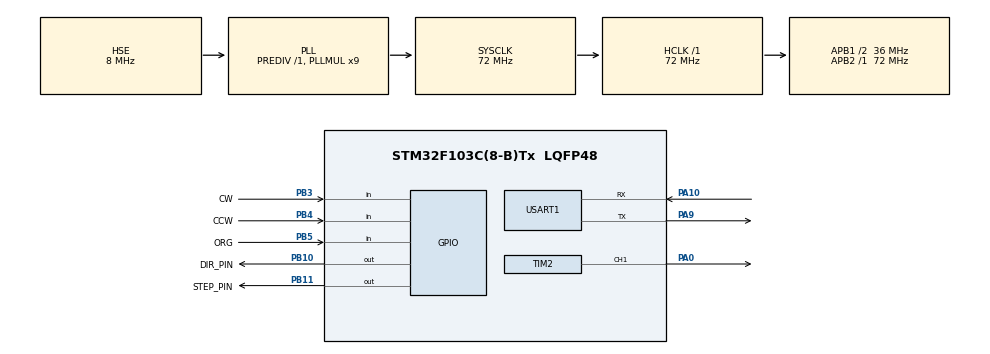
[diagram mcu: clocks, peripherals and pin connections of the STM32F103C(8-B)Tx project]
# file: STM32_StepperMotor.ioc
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Mcu.Family=STM32F1
Mcu.Name=STM32F103C(8-B)Tx
Mcu.Package=LQFP48
NVIC.PriorityGroup=NVIC_PRIORITYGROUP_4
NVIC.USART1_IRQn=true\:0\:0\:false\:false\:true\:true\:true\:true
PA0-WKUP.Signal=S_TIM2_CH1_ETR
PA10.Mode=Asynchronous
PA10.Signal=USART1_RX
PA13.Mode=Serial_Wire
PA13.Signal=SYS_JTMS-SWDIO
PA14.Mode=Serial_Wire
PA14.Signal=SYS_JTCK-SWCLK
PA9.Mode=Asynchronous
PA9.Signal=USART1_TX
PB10.GPIO_Label=DIR_PIN
PB10.GPIO_Speed=GPIO_SPEED_FREQ_HIGH
PB10.Signal=GPIO_Output
PB11.GPIO_Label=STEP_PIN
PB11.GPIO_Speed=GPIO_SPEED_FREQ_HIGH
PB11.Signal=GPIO_Output
PB3.GPIO_Label=CW
PB3.GPIO_PuPd=GPIO_PULLDOWN
PB3.Signal=GPIO_Input
PB4.GPIO_Label=CCW
PB4.GPIO_PuPd=GPIO_PULLDOWN
PB4.Signal=GPIO_Input
PB5.GPIO_Label=ORG
PB5.GPIO_PuPd=GPIO_PULLDOWN
PB5.Signal=GPIO_Input
PD0-OSC_IN.Mode=HSE-External-Oscillator
PD0-OSC_IN.Signal=RCC_OSC_IN
PD1-OSC_OUT.Mode=HSE-External-Oscillator
PD1-OSC_OUT.Signal=RCC_OSC_OUT
ProjectManager.HeapSize=0x200
ProjectManager.StackSize=0x400
ProjectManager.TargetToolchain=MDK-ARM V5.32
RCC.AHBFreq_Value=72000000
RCC.APB1CLKDivider=RCC_HCLK_DIV2
RCC.APB1Freq_Value=36000000
RCC.APB1TimFreq_Value=72000000
RCC.APB2Freq_Value=72000000
RCC.APB2TimFreq_Value=72000000
RCC.HCLKFreq_Value=72000000
RCC.PLLMUL=RCC_PLL_MUL9
RCC.PLLSourceVirtual=RCC_PLLSOURCE_HSE
RCC.SYSCLKFreq_VALUE=72000000
RCC.SYSCLKSource=RCC_SYSCLKSOURCE_PLLCLK
RCC.USBFreq_Value=72000000
SH.S_TIM2_CH1_ETR.0=TIM2_CH1,PWM Generation1 CH1
TIM2.AutoReloadPreload=TIM_AUTORELOAD_PRELOAD_ENABLE
TIM2.Channel-PWM\ Generation1\ CH1=TIM_CHANNEL_1
TIM2.Period=9999
TIM2.Prescaler=12-1
USART1.VirtualMode=VM_ASYNC
VP_TIM2_VS_ClockSourceINT.Mode=Internal
board=custom

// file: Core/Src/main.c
/* USER CODE BEGIN Header */
/**
  ******************************************************************************
  * @file           : main.c
  * @brief          : Main program body
  ******************************************************************************
  * @attention
  *
  * Copyright (c) 2026 STMicroelectronics
  *
  ******************************************************************************
  */
/* USER CODE END Header */
#include "main.h"
#include "tim.h"
#include "usart.h"
#include "gpio.h"

/* USER CODE BEGIN Includes */
#include "stepper.h"
#include <stdio.h>
#include <string.h>
/* USER CODE END Includes */

/* USER CODE BEGIN PD */
#define DEFAULT_HALF_T_LOW 500
#define DEFAULT_HALF_T_MID 250
#define DEFAULT_HALF_T_HIGH 180

#define STEPS_PER_CIRCLE 6400
#define STEPS_PER_HALF_CIRCLE 3200
#define UART_BUF_SIZE 64

#define LIMIT_FILTER_COUNT 3

#define LIMIT_CW_PIN GPIO_PIN_3
#define LIMIT_CCW_PIN GPIO_PIN_4
#define LIMIT_ORG_PIN GPIO_PIN_5
#define LIMIT_PORT GPIOB

#define DISP_HALF_CIRCLE 0.5f
#define DISP_FULL_CIRCLE 1.0f
/* USER CODE END PD */

uint8_t uart_buf[UART_BUF_SIZE];
uint16_t uart_buf_head = 0;
uint16_t uart_buf_tail = 0;

/* USER CODE BEGIN PV */
uint8_t motor_speed = 1;
uint8_t motor_dir = 0;
uint16_t motor_steps = 0;
uint8_t cmd_ready = 0;

float motor_displacement = 0.0f;
uint8_t motor_stop_flag = 0;

uint8_t alarm_lock = 0;
uint8_t cw_limit_locked = 0;
uint8_t ccw_limit_locked = 0;

uint8_t last_cw_limit = 0;
uint8_t last_ccw_limit = 0;
uint8_t last_org_limit = 0;
uint8_t cw_filter_cnt = 0;
uint8_t ccw_filter_cnt = 0;
uint8_t org_filter_cnt = 0;
/* USER CODE END PV */

void SystemClock_Config(void);
/* USER CODE BEGIN PFP */
void UART_Parse_Cmd(void);
void UART_PutChar(uint8_t ch);
void UART_PutString(char *str);
void HAL_Delay_us(uint32_t us);
void Motor_Emergency_Stop(void);
void Limit_Switch_Check(void);
void Alarm_Info(char *str);
void Displacement_Update(uint8_t dir, uint32_t steps);
uint8_t Read_Limit_Stable(GPIO_TypeDef *GPIOx, uint16_t GPIO_Pin);
void System_Reset(void);
/* USER CODE END PFP */

/* USER CODE BEGIN 0 */
void HAL_UART_RxCpltCallback(UART_HandleTypeDef *huart)
{
  if(huart->Instance == USART1)
  {
    uint16_t next_head = (uart_buf_head + 1) % UART_BUF_SIZE;
    if(next_head != uart_buf_tail)
    {
      uart_buf[uart_buf_head] = huart->Instance->DR;
      uart_buf_head = next_head;
    }
    __HAL_UART_ENABLE_IT(&huart1, UART_IT_RXNE);
  }
}
/* USER CODE END 0 */

int main(void)
{
  HAL_Init();
  SystemClock_Config();
  MX_GPIO_Init();
  MX_TIM2_Init();
  MX_USART1_UART_Init();
  Step_GPIO_Config();
  __HAL_UART_ENABLE_IT(&huart1, UART_IT_RXNE);

  HAL_Delay(100);
  last_cw_limit = 0;
  last_ccw_limit = 0;
  last_org_limit = 0;

  UART_PutString("\r\n=============================\r\n");
  UART_PutString("电机控制系统初始化完成\r\n");
  UART_PutString("指令规则:\r\n");
  UART_PutString("1. 3位数字指令: 速度方向圈数\r\n");
  UART_PutString("   速度: 1=低速  2=中速  3=高速\r\n");
  UART_PutString("   方向: 0=正转  1=反转\r\n");
  UART_PutString("   圈数: 1=整圈  2=半圈\r\n");
  UART_PutString("2. 复位指令: 发送R解除报警\r\n");
  UART_PutString("=============================\r\n");
  UART_PutString("> ");

  while (1)
  {
    UART_Parse_Cmd();
    Limit_Switch_Check();
    HAL_Delay(10);

    if(alarm_lock == 1)
      continue;

    if(cmd_ready)
    {
      // 核心逻辑修正：
      // 正转(0)被CW限位锁住 -> 禁止
      // 反转(1)被CCW限位锁住 -> 禁止
      if((motor_dir == 0 && cw_limit_locked) || (motor_dir == 1 && ccw_limit_locked))
      {
        UART_PutString("禁止: 该方向已限位,仅允许反向转动\r\n> ");
        cmd_ready = 0;
        continue;
      }

      motor_stop_flag = 0;
      cmd_ready = 0;
      Set_Direction(motor_dir);

      uint32_t delay = DEFAULT_HALF_T_LOW;
      if(motor_speed ==2) delay = DEFAULT_HALF_T_MID;
      else if(motor_speed ==3) delay = DEFAULT_HALF_T_HIGH;

      Step(motor_steps, delay);

      if(!motor_stop_flag)
      {
        Displacement_Update(motor_dir, motor_steps);
      }

      UART_PutString("执行完成: ");
      UART_PutChar(motor_speed + '0');
      UART_PutChar(motor_dir + '0');
      UART_PutChar((motor_steps == STEPS_PER_CIRCLE)?'1':'2');
      UART_PutString("\r\n当前位移: ");
      char disp_buf[32];
      sprintf(disp_buf, "%.1f mm\r\n", motor_displacement);
      UART_PutString(disp_buf);
      UART_PutString("> ");
    }
  }
}

void SystemClock_Config(void)
{
  RCC_OscInitTypeDef RCC_OscInitStruct = {0};
  RCC_ClkInitTypeDef RCC_ClkInitStruct = {0};

  RCC_OscInitStruct.OscillatorType = RCC_OSCILLATORTYPE_HSE;
  RCC_OscInitStruct.HSEState = RCC_HSE_ON;
  RCC_OscInitStruct.HSEPredivValue = RCC_HSE_PREDIV_DIV1;
  RCC_OscInitStruct.HSIState = RCC_HSI_ON;
  RCC_OscInitStruct.PLL.PLLState = RCC_PLL_ON;
  RCC_OscInitStruct.PLL.PLLSource = RCC_PLLSOURCE_HSE;
  RCC_OscInitStruct.PLL.PLLMUL = RCC_PLL_MUL9;
  if (HAL_RCC_OscConfig(&RCC_OscInitStruct) != HAL_OK)
  {
    Error_Handler();
  }

  RCC_ClkInitStruct.ClockType = RCC_CLOCKTYPE_HCLK|RCC_CLOCKTYPE_SYSCLK
                              |RCC_CLOCKTYPE_PCLK1|RCC_CLOCKTYPE_PCLK2;
  RCC_ClkInitStruct.SYSCLKSource = RCC_SYSCLKSOURCE_PLLCLK;
  RCC_ClkInitStruct.AHBCLKDivider = RCC_SYSCLK_DIV1;
  RCC_ClkInitStruct.APB1CLKDivider = RCC_HCLK_DIV2;
  RCC_ClkInitStruct.APB2CLKDivider = RCC_HCLK_DIV1;

  if (HAL_RCC_ClockConfig(&RCC_ClkInitStruct, FLASH_LATENCY_2) != HAL_OK)
  {
    Error_Handler();
  }
}

/* USER CODE BEGIN 4 */
// 复位逻辑：只清除报警，不清除限位锁定，防止复位后立即再次报警
void System_Reset(void)
{
  alarm_lock = 0;
  motor_stop_flag = 0;
  last_cw_limit = 0;
  last_ccw_limit = 0;
  cmd_ready = 0;
  UART_PutString("系统: 报警已复位,仅允许反向转动\r\n> ");
}

uint8_t Read_Limit_Stable(GPIO_TypeDef *GPIOx, uint16_t GPIO_Pin)
{
  uint8_t level1 = HAL_GPIO_ReadPin(GPIOx, GPIO_Pin);
  HAL_Delay(2);
  uint8_t level2 = HAL_GPIO_ReadPin(GPIOx, GPIO_Pin);
  return (level1 == level2) ? level1 : 0;
}

void HAL_Delay_us(uint32_t us)
{
  uint32_t cnt = us * (SystemCoreClock / 1000000) / 4;
  while(cnt--);
}

void UART_PutChar(uint8_t ch)
{
  HAL_UART_Transmit(&huart1, &ch, 1, 10);
}

void UART_PutString(char *str)
{
  if(str == NULL) return;
  uint16_t len = strlen(str);
  HAL_UART_Transmit(&huart1, (uint8_t *)str, len, 100);
}

void UART_Parse_Cmd(void)
{
  uint16_t data_len = (uart_buf_head - uart_buf_tail + UART_BUF_SIZE) % UART_BUF_SIZE;
  if(data_len == 0) return;

  uint8_t cmd = uart_buf[uart_buf_tail];
  if(cmd == '\r' || cmd == '\n')
  {
    uart_buf_tail = (uart_buf_tail + 1) % UART_BUF_SIZE;
    return;
  }

  if(cmd == 'R' || cmd == 'r')
  {
    System_Reset();
    uart_buf_tail = (uart_buf_tail + 1) % UART_BUF_SIZE;
    return;
  }

  if(data_len >=3)
  {
    uint8_t s = uart_buf[uart_buf_tail];
    uint8_t d = uart_buf[(uart_buf_tail+1)%UART_BUF_SIZE];
    uint8_t c = uart_buf[(uart_buf_tail+2)%UART_BUF_SIZE];

    if((s>='1'&&s<='3')&&(d>='0'&&d<='1')&&(c>='1'&&c<='2'))
    {
      motor_speed = s-'0';
      motor_dir = d-'0';
      motor_steps = (c=='1')? STEPS_PER_CIRCLE:STEPS_PER_HALF_CIRCLE;
      cmd_ready =1;
      uart_buf_tail = (uart_buf_tail + 3) % UART_BUF_SIZE;
    }else{
      uart_buf_head = uart_buf_tail = 0;
      UART_PutString("错误:无效指令\r\n> ");
    }
  }
}

void Alarm_Info(char *str)
{
  UART_PutString("报警: ");
  UART_PutString(str);
  UART_PutString("\r\n> ");
}

void Motor_Emergency_Stop(void)
{
  HAL_GPIO_WritePin(GPIOB, GPIO_PIN_0, GPIO_PIN_RESET);
  motor_stop_flag = 1;
  alarm_lock = 1;
}

// 核心逻辑修正：
// 1. CW限位（正转限位）：触发后锁定CW，只允许反转（离开限位）。
// 2. CCW限位（反转限位）：触发后锁定CCW，只允许正转（离开限位）。
void Limit_Switch_Check(void)
{
  uint8_t cw_now = Read_Limit_Stable(LIMIT_PORT, LIMIT_CW_PIN);
  uint8_t ccw_now = Read_Limit_Stable(LIMIT_PORT, LIMIT_CCW_PIN);
  uint8_t org_now = Read_Limit_Stable(LIMIT_PORT, LIMIT_ORG_PIN);

  // --- 正转限位逻辑 (CW) ---
  // 如果CW限位被触发，且尚未锁定
  if(cw_now == 1 && !cw_limit_locked)
  {
    cw_filter_cnt++;
    if(cw_filter_cnt >= LIMIT_FILTER_COUNT && last_cw_limit == 0)
    {
      last_cw_limit = 1;
      cw_limit_locked = 1; // 锁定正转方向
      Motor_Emergency_Stop();
      Alarm_Info("正转限位触发 发送R复位");
    }
  }
  // 只有在没有报警锁定的情况下（即复位后），且限位开关松开，才解除锁定
  else if(cw_now == 0 && alarm_lock == 0)
  {
    cw_filter_cnt = 0;
    cw_limit_locked = 0;
  }

  // --- 反转限位逻辑 (CCW) ---
  // 如果CCW限位被触发，且尚未锁定
  if(ccw_now == 1 && !ccw_limit_locked)
  {
    ccw_filter_cnt++;
    if(ccw_filter_cnt >= LIMIT_FILTER_COUNT && last_ccw_limit == 0)
    {
      last_ccw_limit = 1;
      ccw_limit_locked = 1; // 锁定反转方向
      Motor_Emergency_Stop();
      Alarm_Info("反转限位触发 发送R复位");
    }
  }
  // 只有在没有报警锁定的情况下（即复位后），且限位开关松开，才解除锁定
  else if(ccw_now == 0 && alarm_lock == 0)
  {
    ccw_filter_cnt = 0;
    ccw_limit_locked = 0;
  }

  // --- 原点逻辑 ---
  if(org_now == 1)
  {
    org_filter_cnt++;
    if(org_filter_cnt >= LIMIT_FILTER_COUNT && last_org_limit == 0)
    {
      last_org_limit = 1;
      motor_displacement = 0.0f;
      UART_PutString("提示: 原点触发 位移已清零\r\n> ");
    }
  }
  else
  {
    org_filter_cnt = 0;
    last_org_limit = 0;
  }
}

void Displacement_Update(uint8_t dir, uint32_t steps)
{
  float step2mm = (float)steps / STEPS_PER_CIRCLE * DISP_FULL_CIRCLE;
  if(dir == 0) // 正转
  {
    motor_displacement += step2mm;
  }
  else // 反转
  {
    motor_displacement -= step2mm;
  }
  char buf[64];
  sprintf(buf, "当前位置: %.1f mm\r\n", motor_displacement);
  UART_PutString(buf);
}
/* USER CODE END 4 */

void Error_Handler(void)
{
  __disable_irq();
  while(1){}
}
